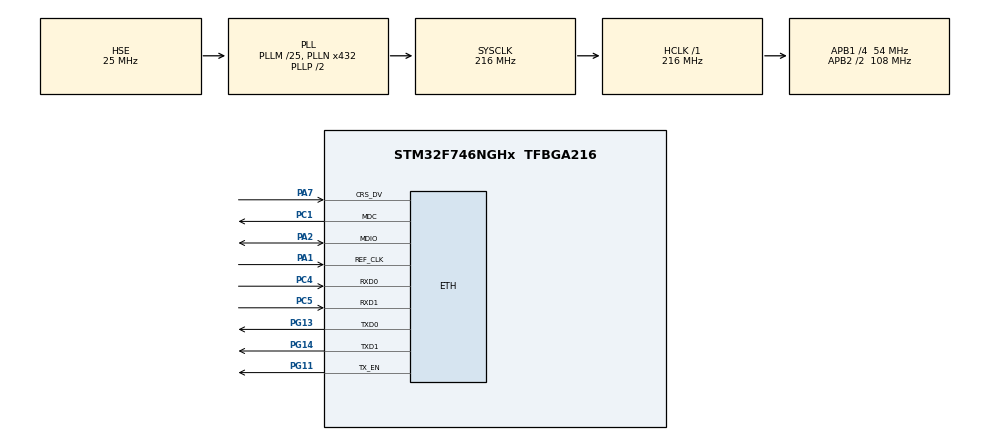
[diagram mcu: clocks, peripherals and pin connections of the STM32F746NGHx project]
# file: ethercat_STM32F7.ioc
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ETH.AutoNegotiation=ETH_AUTONEGOTIATION_DISABLE
ETH.MACAddr=00\:00\:00\:00\:00\:00
ETH.MediaInterface=ETH_MEDIA_INTERFACE_RMII
ETH.PHY_Name_RMII=userPHY
ETH.PhyAddress=0
Mcu.Family=STM32F7
Mcu.Name=STM32F746NGHx
Mcu.Package=TFBGA216
NVIC.PriorityGroup=NVIC_PRIORITYGROUP_4
PA1.Mode=RMII
PA1.Signal=ETH_REF_CLK
PA2.Mode=RMII
PA2.Signal=ETH_MDIO
PA7.Mode=RMII
PA7.Signal=ETH_CRS_DV
PC1.Mode=RMII
PC1.Signal=ETH_MDC
PC4.Mode=RMII
PC4.Signal=ETH_RXD0
PC5.Mode=RMII
PC5.Signal=ETH_RXD1
PG11.Mode=RMII
PG11.Signal=ETH_TX_EN
PG13.Mode=RMII
PG13.Signal=ETH_TXD0
PG14.Mode=RMII
PG14.Signal=ETH_TXD1
PH0/OSC_IN.Mode=HSE-External-Oscillator
PH0/OSC_IN.Signal=RCC_OSC_IN
PH1/OSC_OUT.Mode=HSE-External-Oscillator
PH1/OSC_OUT.Signal=RCC_OSC_OUT
ProjectManager.HeapSize=0x200
ProjectManager.StackSize=0x400
ProjectManager.TargetToolchain=STM32CubeIDE
RCC.AHBFreq_Value=216000000
RCC.APB1CLKDivider=RCC_HCLK_DIV4
RCC.APB1Freq_Value=54000000
RCC.APB1TimFreq_Value=108000000
RCC.APB2CLKDivider=RCC_HCLK_DIV2
RCC.APB2Freq_Value=108000000
RCC.APB2TimFreq_Value=216000000
RCC.CortexFreq_Value=216000000
RCC.HCLKFreq_Value=216000000
RCC.HSE_VALUE=25000000
RCC.HSI_VALUE=16000000
RCC.LSE_VALUE=32768
RCC.PLLM=25
RCC.PLLN=432
RCC.PLLSourceVirtual=RCC_PLLSOURCE_HSE
RCC.SYSCLKFreq_VALUE=216000000
RCC.SYSCLKSource=RCC_SYSCLKSOURCE_PLLCLK
RCC.USBFreq_Value=216000000
RCC.VCOOutputFreq_Value=432000000
board=STM32F746G-DISCO

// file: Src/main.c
/* USER CODE BEGIN Header */
/**
  ******************************************************************************
  * @file           : main.c
  * @brief          : Main program body
  ******************************************************************************
  * @attention
  *
  * <h2><center>&copy; Copyright (c) 2021 STMicroelectronics.
  * All rights reserved.</center></h2>
  *
  * This software component is licensed by ST under BSD 3-Clause license,
  * the "License"; You may not use this file except in compliance with the
  * License. You may obtain a copy of the License at:
  *                        opensource.org/licenses/BSD-3-Clause
  *
  ******************************************************************************
  */
/* USER CODE END Header */

#include "main.h"
#include "eth.h"
#include "gpio.h"

/* USER CODE BEGIN Includes */
#include <stdio.h>
#include "SOEM.h"

#include <inttypes.h>
/* USER CODE END Includes */

/* USER CODE BEGIN PV */
ETH_DMADescTypeDef DMARxDscrTab[ETH_RXBUFNB];
ETH_DMADescTypeDef DMATxDscrTab[ETH_TXBUFNB];

uint8_t Rx_Buff[ETH_RXBUFNB][ETH_RX_BUF_SIZE];
uint8_t Tx_Buff[ETH_TXBUFNB][ETH_TX_BUF_SIZE];
/* USER CODE END PV */

void SystemClock_Config(void);

/* USER CODE BEGIN 0 */
int _write(int file, char *ptr, int len)
{
	int i=0;
	for (i = 0; i < len; i++)
		ITM_SendChar(ptr[i]);
	return len;
}
/* USER CODE END 0 */

int main(void)
{
  /* USER CODE BEGIN 1 */

	const char * ifname = "Intel(R) Ethernet Connection (2) I218-V";

	int i, j, oloop, iloop, chk;
	boolean needlf = FALSE;
	boolean inOP = FALSE;
	char IOmap[4096];
	int expectedWKC;
	volatile int wkc;
  /* USER CODE END 1 */

  /* MCU Configuration--------------------------------------------------------*/

  /* Reset of all peripherals, Initializes the Flash interface and the Systick. */
  HAL_Init();

  /* Configure the system clock */
  SystemClock_Config();

  /* Initialize all configured peripherals */
  MX_GPIO_Init();
  MX_ETH_Init();
  /* USER CODE BEGIN 2 */

//  hal_ethernet_open();
//  ec_init(ifname);
//  ec_config_init(FALSE);

	printf("Starting simple test\n");

	/* initialise SOEM, bind socket to ifname */
	if (ec_init(ifname))
	{
		printf("ec_init on %s succeeded.\n",ifname);
		/* find and auto-config slaves */

		if ( ec_config_init(FALSE) > 0 )
		{
			printf("%d slaves found and configured.\n", ec_slavecount);

			ec_config_map(&IOmap);

			ec_configdc();

			printf("Slaves mapped, state to SAFE_OP.\n");
			/* wait for all slaves to reach SAFE_OP state */
			ec_statecheck(0, EC_STATE_SAFE_OP,  EC_TIMEOUTSTATE * 4);

			oloop = ec_slave[0].Obytes;
			if ((oloop == 0) && (ec_slave[0].Obits > 0)) oloop = 1;
			if (oloop > 8) oloop = 8;
			iloop = ec_slave[0].Ibytes;
			if ((iloop == 0) && (ec_slave[0].Ibits > 0)) iloop = 1;
			if (iloop > 8) iloop = 8;

			printf("segments : %d : %d %d %d %d\n", ec_group[0].nsegments, (int) ec_group[0].IOsegment[0], (int) ec_group[0].IOsegment[1], (int) ec_group[0].IOsegment[2], (int) ec_group[0].IOsegment[3]);

			printf("Request operational state for all slaves\n");
			expectedWKC = (ec_group[0].outputsWKC * 2) + ec_group[0].inputsWKC;
			printf("Calculated workcounter %d\n", expectedWKC);
			ec_slave[0].state = EC_STATE_OPERATIONAL;
			/* send one valid process data to make outputs in slaves happy*/
			ec_send_processdata();
			ec_receive_processdata(EC_TIMEOUTRET);
			/* request OP state for all slaves */
			ec_writestate(0);
			chk = 200;
			/* wait for all slaves to reach OP state */
			do
			{
				ec_send_processdata();
				ec_receive_processdata(EC_TIMEOUTRET);
				ec_statecheck(0, EC_STATE_OPERATIONAL, 50000);
			}
			while (chk-- && (ec_slave[0].state != EC_STATE_OPERATIONAL));
			if (ec_slave[0].state == EC_STATE_OPERATIONAL )
			{
				printf("Operational state reached for all slaves.\n");
				inOP = TRUE;
				/* cyclic loop */
				for(i = 1; i <= 10000; i++)
				{
					ec_send_processdata();
					wkc = ec_receive_processdata(EC_TIMEOUTRET);

					if(wkc >= expectedWKC)
					{
						printf("Processdata cycle %4d, WKC %d , O:", i, wkc);

						for(j = 0 ; j < oloop; j++)
						{
							printf(" %2.2x", *(ec_slave[0].outputs + j));
						}

						printf(" I:");
						for(j = 0 ; j < iloop; j++)
						{
							printf(" %2.2x", *(ec_slave[0].inputs + j));
						}
						printf(" T:%"PRId64"\r",ec_DCtime);
						needlf = TRUE;
					}
					osal_usleep(5000);

				}
				inOP = FALSE;
			}
			else
			{
				printf("Not all slaves reached operational state.\n");
				ec_readstate();
				for(i = 1; i<=ec_slavecount ; i++)
				{
					if(ec_slave[i].state != EC_STATE_OPERATIONAL)
					{
						printf("Slave %d State=0x%2.2x StatusCode=0x%4.4x : %s\n",
						i, ec_slave[i].state, ec_slave[i].ALstatuscode, ec_ALstatuscode2string(ec_slave[i].ALstatuscode));
					}
				}
			}
			printf("\nRequest init state for all slaves\n");
			ec_slave[0].state = EC_STATE_INIT;
			/* request INIT state for all slaves */
			ec_writestate(0);
		}
		else
		{
			printf("No slaves found!\n");
		}
		printf("End simple test, close socket\n");
		/* stop SOEM, close socket */
		ec_close();
	}
	else
	{
		printf("No socket connection on %s\nExecute as root\n",ifname);
	}

  /* USER CODE END 2 */

  /* Infinite loop */
  /* USER CODE BEGIN WHILE */
  while (1)
  {
//	  if( hal_ethernet_send( (unsigned char *)data, sizeof(data)) == 0 )
//	  	printf("Paket uspjesno poslan\n");
//	  else
//		  printf("Paket nije uspjesno poslan\n");

//	  HAL_Delay(2000);

    /* USER CODE END WHILE */

  }
}

void SystemClock_Config(void)
{
  RCC_OscInitTypeDef RCC_OscInitStruct = {0};
  RCC_ClkInitTypeDef RCC_ClkInitStruct = {0};

  /** Configure the main internal regulator output voltage
  */
  __HAL_RCC_PWR_CLK_ENABLE();
  __HAL_PWR_VOLTAGESCALING_CONFIG(PWR_REGULATOR_VOLTAGE_SCALE1);
  /** Initializes the CPU, AHB and APB busses clocks
  */
  RCC_OscInitStruct.OscillatorType = RCC_OSCILLATORTYPE_HSE;
  RCC_OscInitStruct.HSEState = RCC_HSE_ON;
  RCC_OscInitStruct.PLL.PLLState = RCC_PLL_ON;
  RCC_OscInitStruct.PLL.PLLSource = RCC_PLLSOURCE_HSE;
  RCC_OscInitStruct.PLL.PLLM = 25;
  RCC_OscInitStruct.PLL.PLLN = 432;
  RCC_OscInitStruct.PLL.PLLP = RCC_PLLP_DIV2;
  RCC_OscInitStruct.PLL.PLLQ = 2;
  if (HAL_RCC_OscConfig(&RCC_OscInitStruct) != HAL_OK)
  {
    Error_Handler();
  }
  /** Activate the Over-Drive mode
  */
  if (HAL_PWREx_EnableOverDrive() != HAL_OK)
  {
    Error_Handler();
  }
  /** Initializes the CPU, AHB and APB busses clocks
  */
  RCC_ClkInitStruct.ClockType = RCC_CLOCKTYPE_HCLK|RCC_CLOCKTYPE_SYSCLK
                              |RCC_CLOCKTYPE_PCLK1|RCC_CLOCKTYPE_PCLK2;
  RCC_ClkInitStruct.SYSCLKSource = RCC_SYSCLKSOURCE_PLLCLK;
  RCC_ClkInitStruct.AHBCLKDivider = RCC_SYSCLK_DIV1;
  RCC_ClkInitStruct.APB1CLKDivider = RCC_HCLK_DIV4;
  RCC_ClkInitStruct.APB2CLKDivider = RCC_HCLK_DIV2;

  if (HAL_RCC_ClockConfig(&RCC_ClkInitStruct, FLASH_LATENCY_7) != HAL_OK)
  {
    Error_Handler();
  }
}

void Error_Handler(void)
{
}

/************************ (C) COPYRIGHT STMicroelectronics *****END OF FILE****/
